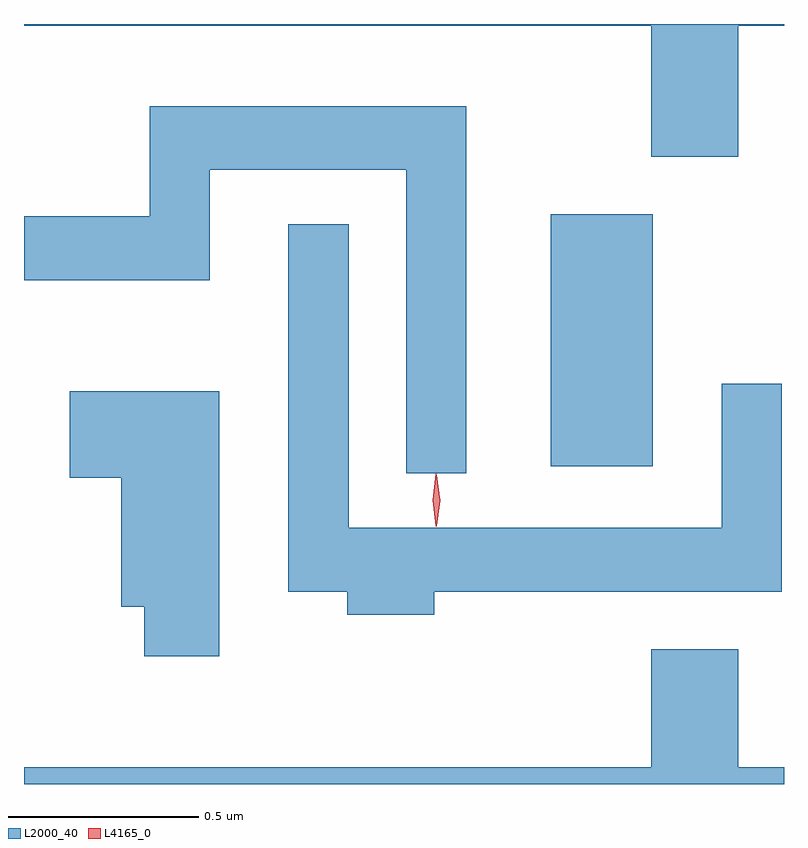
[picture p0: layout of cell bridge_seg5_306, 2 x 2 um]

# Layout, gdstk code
import gdstk
lib = gdstk.Library(unit=1e-6, precision=1e-09)
def R(c, l, rs):  # rectangles x0, y0, x1, y1
    for r in rs: c.add(gdstk.rectangle(r[:2], r[2:], *l))
def P(c, l, *ps):  # polygons
    for p in ps: c.add(gdstk.Polygon(p, *l))
L2000_40 = (2000, 40)
L4165_0 = (4165, 0)

bridge_seg5_306 = lib.new_cell('bridge_seg5_306')
R(bridge_seg5_306, L2000_40, [(674.796,1504.476,675.064,1505.139)])
P(bridge_seg5_306, L2000_40, [(675.289,1505.636),(675.41,1505.636),(675.41,1505.64),(673.41,1505.64),(673.41,1505.636),(675.061,1505.636),(675.061,1505.291),(675.289,1505.291)],
  [(674.574,1505.424),(673.741,1505.424),(673.741,1505.134),(673.41,1505.134),(673.41,1504.966),(673.899,1504.966),(673.899,1505.256),(674.416,1505.256),(674.416,1504.458),(674.574,1504.458)],
  [(674.489,1504.146),(675.404,1504.146),(675.404,1504.693),(675.246,1504.693),(675.246,1504.314),(674.264,1504.314),(674.264,1505.113),(674.106,1505.113),(674.106,1504.146),(674.261,1504.146),(674.261,1504.086),(674.489,1504.086)],
  [(673.924,1504.674),(673.531,1504.674),(673.531,1504.446),(673.666,1504.446),(673.666,1504.106),(673.726,1504.106),(673.726,1503.976),(673.924,1503.976)],
  [(675.41,1503.684),(675.289,1503.684),(675.289,1503.994),(675.061,1503.994),(675.061,1503.684),(673.41,1503.684),(673.41,1503.64),(675.41,1503.64)])
P(bridge_seg5_306, L4165_0, [(674.495,1504.32),(674.486,1504.386),(674.495,1504.452),(674.496,1504.453),(674.496,1504.452),(674.506,1504.386),(674.496,1504.32),(674.496,1504.32)],
  [(674.495,1504.317),(674.494,1504.318),(674.485,1504.387),(674.494,1504.456),(674.495,1504.456),(674.495,1504.456),(674.505,1504.387),(674.495,1504.318)])

lib.write_gds('bridge_seg5_306.gds')
